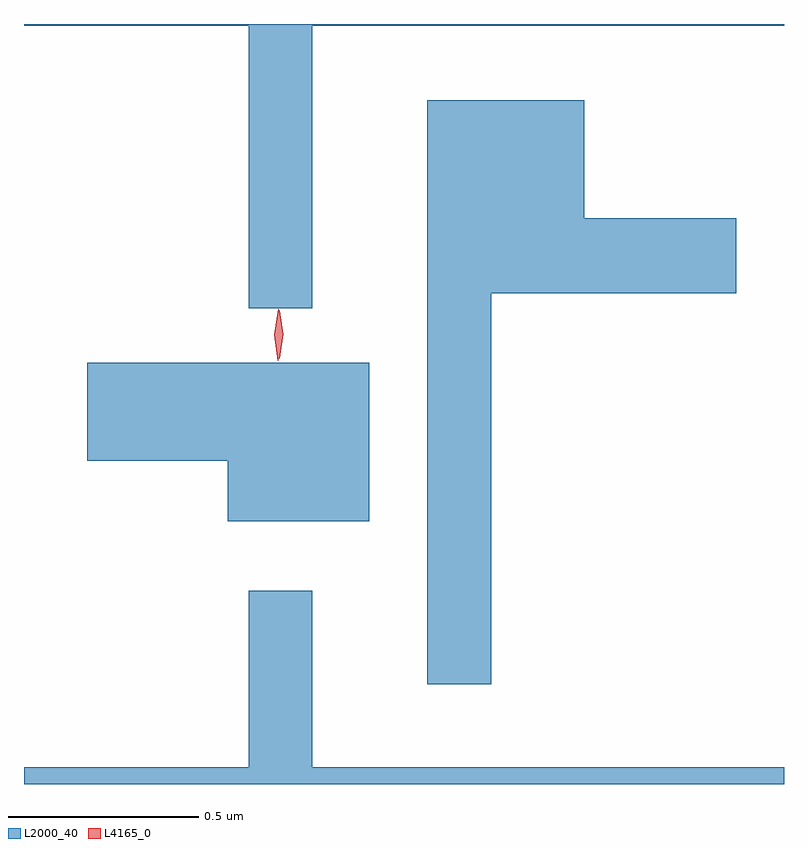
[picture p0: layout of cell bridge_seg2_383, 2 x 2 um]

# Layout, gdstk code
import gdstk
lib = gdstk.Library(unit=1e-6, precision=1e-09)
def P(c, l, *ps):  # polygons
    for p in ps: c.add(gdstk.Polygon(p, *l))
L2000_40 = (2000, 40)
L4165_0 = (4165, 0)

bridge_seg2_383 = lib.new_cell('bridge_seg2_383')
P(bridge_seg2_383, L2000_40, [(578.859,1043.876),(580.1,1043.876),(580.1,1043.88),(578.1,1043.88),(578.1,1043.876),(578.691,1043.876),(578.691,1043.132),(578.859,1043.132)],
  [(579.329,1043.171),(579.974,1043.171),(579.974,1043.369),(579.574,1043.369),(579.574,1043.679),(579.161,1043.679),(579.161,1042.142),(579.329,1042.142)],
  [(579.009,1042.989),(578.266,1042.989),(578.266,1042.731),(578.636,1042.731),(578.636,1042.571),(579.009,1042.571)],
  [(580.1,1041.924),(578.859,1041.924),(578.859,1042.388),(578.691,1042.388),(578.691,1041.924),(578.1,1041.924),(578.1,1041.88),(580.1,1041.88)])
P(bridge_seg2_383, L4165_0, [(578.768,1042.994),(578.768,1042.994),(578.759,1043.062),(578.769,1043.13),(578.77,1043.13),(578.77,1043.13),(578.779,1043.062),(578.769,1042.994)],
  [(578.772,1043),(578.772,1043),(578.762,1043.063),(578.772,1043.126),(578.772,1043.127),(578.773,1043.126),(578.782,1043.063),(578.773,1043)])

lib.write_gds('bridge_seg2_383.gds')
